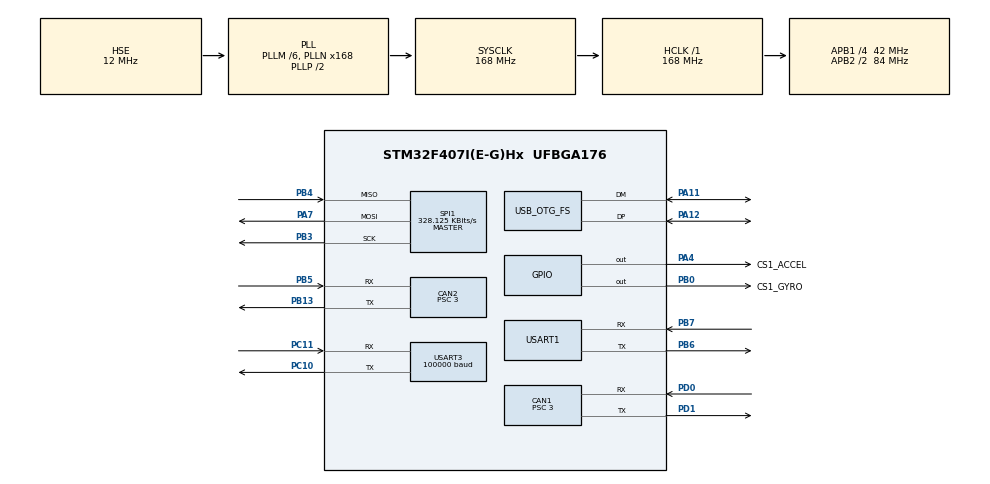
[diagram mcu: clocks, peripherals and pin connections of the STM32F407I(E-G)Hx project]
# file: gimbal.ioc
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CAN1.BS1=CAN_BS1_10TQ
CAN1.BS2=CAN_BS2_3TQ
CAN1.CalculateBaudRate=1000000
CAN1.CalculateTimeBit=1000
CAN1.CalculateTimeQuantum=71.42857142857143
CAN1.Prescaler=3
CAN2.BS1=CAN_BS1_10TQ
CAN2.BS2=CAN_BS2_3TQ
CAN2.CalculateBaudRate=1000000
CAN2.CalculateTimeBit=1000
CAN2.CalculateTimeQuantum=71.42857142857143
CAN2.Prescaler=3
Dma.Request0=USART3_RX
Dma.Request1=USART1_TX
Dma.USART1_TX.1.Direction=DMA_MEMORY_TO_PERIPH
Dma.USART1_TX.1.FIFOMode=DMA_FIFOMODE_DISABLE
Dma.USART1_TX.1.Instance=DMA2_Stream7
Dma.USART1_TX.1.MemDataAlignment=DMA_MDATAALIGN_BYTE
Dma.USART1_TX.1.MemInc=DMA_MINC_ENABLE
Dma.USART1_TX.1.Mode=DMA_CIRCULAR
Dma.USART1_TX.1.PeriphDataAlignment=DMA_PDATAALIGN_BYTE
Dma.USART1_TX.1.PeriphInc=DMA_PINC_DISABLE
Dma.USART1_TX.1.Priority=DMA_PRIORITY_LOW
Dma.USART3_RX.0.Direction=DMA_PERIPH_TO_MEMORY
Dma.USART3_RX.0.FIFOMode=DMA_FIFOMODE_DISABLE
Dma.USART3_RX.0.Instance=DMA1_Stream1
Dma.USART3_RX.0.MemDataAlignment=DMA_MDATAALIGN_BYTE
Dma.USART3_RX.0.MemInc=DMA_MINC_ENABLE
Dma.USART3_RX.0.Mode=DMA_CIRCULAR
Dma.USART3_RX.0.PeriphDataAlignment=DMA_PDATAALIGN_BYTE
Dma.USART3_RX.0.PeriphInc=DMA_PINC_DISABLE
Dma.USART3_RX.0.Priority=DMA_PRIORITY_LOW
FREERTOS.Tasks01=mit,0,256,MIT_task,As weak,NULL,Dynamic,NULL,NULL
Mcu.Family=STM32F4
Mcu.Name=STM32F407I(E-G)Hx
Mcu.Package=UFBGA176
NVIC.CAN1_RX0_IRQn=true\:5\:0\:false\:false\:true\:true\:true\:true\:true
NVIC.DMA1_Stream1_IRQn=true\:5\:0\:false\:false\:true\:true\:false\:true\:true
NVIC.DMA2_Stream7_IRQn=true\:5\:0\:false\:false\:true\:true\:false\:true\:true
NVIC.OTG_FS_IRQn=true\:5\:0\:false\:false\:true\:true\:false\:true\:true
NVIC.PriorityGroup=NVIC_PRIORITYGROUP_4
NVIC.TIM1_UP_TIM10_IRQn=true\:15\:0\:false\:false\:true\:false\:false\:true\:true
NVIC.TimeBase=TIM1_UP_TIM10_IRQn
NVIC.TimeBaseIP=TIM10
NVIC.USART1_IRQn=true\:6\:0\:true\:false\:true\:true\:true\:true\:true
NVIC.USART3_IRQn=true\:5\:0\:false\:false\:true\:true\:true\:true\:true
PA11.Mode=Device_Only
PA11.Signal=USB_OTG_FS_DM
PA12.Mode=Device_Only
PA12.Signal=USB_OTG_FS_DP
PA13.Mode=Serial_Wire
PA13.Signal=SYS_JTMS-SWDIO
PA14.Mode=Serial_Wire
PA14.Signal=SYS_JTCK-SWCLK
PA4.GPIO_Label=CS1_ACCEL
PA4.GPIO_PuPd=GPIO_PULLUP
PA4.GPIO_Speed=GPIO_SPEED_FREQ_HIGH
PA4.Signal=GPIO_Output
PA7.Mode=Full_Duplex_Master
PA7.Signal=SPI1_MOSI
PB0.GPIO_Label=CS1_GYRO
PB0.GPIO_PuPd=GPIO_PULLUP
PB0.GPIO_Speed=GPIO_SPEED_FREQ_HIGH
PB0.PinState=GPIO_PIN_SET
PB0.Signal=GPIO_Output
PB13.Mode=CAN_Activate
PB13.Signal=CAN2_TX
PB3.Mode=Full_Duplex_Master
PB3.Signal=SPI1_SCK
PB4.Mode=Full_Duplex_Master
PB4.Signal=SPI1_MISO
PB5.Mode=CAN_Activate
PB5.Signal=CAN2_RX
PB6.Mode=Asynchronous
PB6.Signal=USART1_TX
PB7.Mode=Asynchronous
PB7.Signal=USART1_RX
PC10.Mode=Asynchronous
PC10.Signal=USART3_TX
PC11.Mode=Asynchronous
PC11.Signal=USART3_RX
PC14-OSC32_IN.Mode=LSE-External-Oscillator
PC14-OSC32_IN.Signal=RCC_OSC32_IN
PC15-OSC32_OUT.Mode=LSE-External-Oscillator
PC15-OSC32_OUT.Signal=RCC_OSC32_OUT
PD0.Mode=CAN_Activate
PD0.Signal=CAN1_RX
PD1.Mode=CAN_Activate
PD1.Signal=CAN1_TX
PH0-OSC_IN.Mode=HSE-External-Oscillator
PH0-OSC_IN.Signal=RCC_OSC_IN
PH1-OSC_OUT.Mode=HSE-External-Oscillator
PH1-OSC_OUT.Signal=RCC_OSC_OUT
ProjectManager.HeapSize=0x2000
ProjectManager.StackSize=0x400
ProjectManager.TargetToolchain=MDK-ARM V5.32
RCC.48MHZClocksFreq_Value=48000000
RCC.AHBFreq_Value=168000000
RCC.APB1CLKDivider=RCC_HCLK_DIV4
RCC.APB1Freq_Value=42000000
RCC.APB1TimFreq_Value=84000000
RCC.APB2CLKDivider=RCC_HCLK_DIV2
RCC.APB2Freq_Value=84000000
RCC.APB2TimFreq_Value=168000000
RCC.CortexFreq_Value=168000000
RCC.HCLKFreq_Value=168000000
RCC.HSE_VALUE=12000000
RCC.HSI_VALUE=16000000
RCC.PLLM=6
RCC.PLLN=168
RCC.PLLQ=7
RCC.SYSCLKFreq_VALUE=168000000
RCC.SYSCLKSource=RCC_SYSCLKSOURCE_PLLCLK
RCC.VCOOutputFreq_Value=336000000
SPI1.BaudRatePrescaler=SPI_BAUDRATEPRESCALER_256
SPI1.CLKPhase=SPI_PHASE_2EDGE
SPI1.CLKPolarity=SPI_POLARITY_HIGH
SPI1.CalculateBaudRate=328.125 KBits/s
SPI1.Direction=SPI_DIRECTION_2LINES
SPI1.Mode=SPI_MODE_MASTER
SPI1.VirtualType=VM_MASTER
USART1.VirtualMode=VM_ASYNC
USART3.BaudRate=100000
USART3.Parity=PARITY_EVEN
USART3.VirtualMode=VM_ASYNC
USART3.WordLength=WORDLENGTH_9B
USB_DEVICE.CLASS_NAME_FS=CDC
USB_DEVICE.VirtualMode-CDC_FS=Cdc
USB_DEVICE.VirtualModeFS=Cdc_FS
USB_OTG_FS.VirtualMode=Device_Only
VP_FREERTOS_VS_CMSIS_V1.Mode=CMSIS_V1
VP_SYS_VS_tim10.Mode=TIM10
VP_USB_DEVICE_VS_USB_DEVICE_CDC_FS.Mode=CDC_FS
board=custom

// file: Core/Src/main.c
/* USER CODE BEGIN Header */
/**
  ******************************************************************************
  * @file           : main.c
  * @brief          : Main program body
  ******************************************************************************
  * @attention
  *
  * Copyright (c) 2025 STMicroelectronics.
  * All rights reserved.
  *
  * This software is licensed under terms that can be found in the LICENSE file
  * in the root directory of this software component.
  * If no LICENSE file comes with this software, it is provided AS-IS.
  *
  ******************************************************************************
  */
/* USER CODE END Header */
#include "main.h"
#include "cmsis_os.h"
#include "can.h"
#include "dma.h"
#include "spi.h"
#include "usart.h"
#include "usb_device.h"
#include "gpio.h"

/* USER CODE BEGIN Includes */
#include "dm4310.h"
#include "dr_can.h"
#include "dr16.h"
/* USER CODE END Includes */

/* USER CODE BEGIN PV */
rc_info_t rc_ctrl;
uint8_t rx_data[18];
/* USER CODE END PV */

void SystemClock_Config(void);
void MX_FREERTOS_Init(void);

/* USER CODE BEGIN 0 */
void Enable_CtrlMotor(CAN_HandleTypeDef* hcan,uint8_t id, uint8_t data0, uint8_t data1,uint8_t data2, uint8_t data3, uint8_t data4,uint8_t data5,uint8_t data6,uint8_t data7);
void Speed_CtrlMotor(CAN_HandleTypeDef* hcan, uint16_t ID, float _vel);
extern CAN_HandleTypeDef hcan1;
extern CAN_HandleTypeDef hcan2;
uint32_t FlashTimer;
double angle = 0.5;

/* USER CODE END 0 */

int main(void)
{

  /* MCU Configuration--------------------------------------------------------*/

  /* Reset of all peripherals, Initializes the Flash interface and the Systick. */
  HAL_Init();

  /* Configure the system clock */
  SystemClock_Config();

  /* Initialize all configured peripherals */
  MX_GPIO_Init();
  MX_DMA_Init();
  MX_CAN1_Init();
  MX_USART3_UART_Init();
  MX_USART1_UART_Init();
  MX_CAN2_Init();
  MX_SPI1_Init();
  /* USER CODE BEGIN 2 */
 CAN1_Filter_Init();
 CAN2_Filter_Init();
 Enable_CtrlMotor(&hcan1,MOTOR1,0xFF,0xFF,0xFF,0xFF,0xFF,0xFF,0xFF,0xFC);
 HAL_UART_Receive_DMA(&huart3, rx_data, 18);
  /* USER CODE END 2 */

  /* Call init function for freertos objects (in cmsis_os2.c) */
  MX_FREERTOS_Init();

  /* Start scheduler */
  osKernelStart();

  /* We should never get here as control is now taken by the scheduler */

  /* Infinite loop */
  while (1)
  {

  }
}

void SystemClock_Config(void)
{
  RCC_OscInitTypeDef RCC_OscInitStruct = {0};
  RCC_ClkInitTypeDef RCC_ClkInitStruct = {0};

  /** Configure the main internal regulator output voltage
  */
  __HAL_RCC_PWR_CLK_ENABLE();
  __HAL_PWR_VOLTAGESCALING_CONFIG(PWR_REGULATOR_VOLTAGE_SCALE1);

  /** Initializes the RCC Oscillators according to the specified parameters
  * in the RCC_OscInitTypeDef structure.
  */
  RCC_OscInitStruct.OscillatorType = RCC_OSCILLATORTYPE_HSE;
  RCC_OscInitStruct.HSEState = RCC_HSE_ON;
  RCC_OscInitStruct.PLL.PLLState = RCC_PLL_ON;
  RCC_OscInitStruct.PLL.PLLSource = RCC_PLLSOURCE_HSE;
  RCC_OscInitStruct.PLL.PLLM = 6;
  RCC_OscInitStruct.PLL.PLLN = 168;
  RCC_OscInitStruct.PLL.PLLP = RCC_PLLP_DIV2;
  RCC_OscInitStruct.PLL.PLLQ = 7;
  if (HAL_RCC_OscConfig(&RCC_OscInitStruct) != HAL_OK)
  {
    Error_Handler();
  }

  /** Initializes the CPU, AHB and APB buses clocks
  */
  RCC_ClkInitStruct.ClockType = RCC_CLOCKTYPE_HCLK|RCC_CLOCKTYPE_SYSCLK
                              |RCC_CLOCKTYPE_PCLK1|RCC_CLOCKTYPE_PCLK2;
  RCC_ClkInitStruct.SYSCLKSource = RCC_SYSCLKSOURCE_PLLCLK;
  RCC_ClkInitStruct.AHBCLKDivider = RCC_SYSCLK_DIV1;
  RCC_ClkInitStruct.APB1CLKDivider = RCC_HCLK_DIV4;
  RCC_ClkInitStruct.APB2CLKDivider = RCC_HCLK_DIV2;

  if (HAL_RCC_ClockConfig(&RCC_ClkInitStruct, FLASH_LATENCY_5) != HAL_OK)
  {
    Error_Handler();
  }
}

void HAL_TIM_PeriodElapsedCallback(TIM_HandleTypeDef *htim)
{
  if (htim->Instance == TIM10)
  {
    HAL_IncTick();
  }
}

void Error_Handler(void)
{
  __disable_irq();
  while (1)
  {
  }
}

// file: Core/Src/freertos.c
/* USER CODE BEGIN Header */
/**
  ******************************************************************************
  * File Name          : freertos.c
  * Description        : Code for freertos applications
  ******************************************************************************
  * @attention
  *
  * Copyright (c) 2025 STMicroelectronics.
  * All rights reserved.
  *
  * This software is licensed under terms that can be found in the LICENSE file
  * in the root directory of this software component.
  * If no LICENSE file comes with this software, it is provided AS-IS.
  *
  ******************************************************************************
  */
/* USER CODE END Header */

#include "FreeRTOS.h"
#include "task.h"
#include "main.h"
#include "cmsis_os.h"

/* USER CODE BEGIN Includes */
#include "dm4310.h"
/* USER CODE END Includes */

osThreadId mitHandle;

void MIT_task(void const * argument);

extern void MX_USB_DEVICE_Init(void);
void MX_FREERTOS_Init(void); /* (MISRA C 2004 rule 8.1) */

/* GetIdleTaskMemory prototype (linked to static allocation support) */
void vApplicationGetIdleTaskMemory( StaticTask_t **ppxIdleTaskTCBBuffer, StackType_t **ppxIdleTaskStackBuffer, uint32_t *pulIdleTaskStackSize );

/* USER CODE BEGIN GET_IDLE_TASK_MEMORY */
static StaticTask_t xIdleTaskTCBBuffer;
static StackType_t xIdleStack[configMINIMAL_STACK_SIZE];

void vApplicationGetIdleTaskMemory( StaticTask_t **ppxIdleTaskTCBBuffer, StackType_t **ppxIdleTaskStackBuffer, uint32_t *pulIdleTaskStackSize )
{
  *ppxIdleTaskTCBBuffer = &xIdleTaskTCBBuffer;
  *ppxIdleTaskStackBuffer = &xIdleStack[0];
  *pulIdleTaskStackSize = configMINIMAL_STACK_SIZE;
  /* place for user code */
}
/* USER CODE END GET_IDLE_TASK_MEMORY */

void MX_FREERTOS_Init(void) {

  /* Create the thread(s) */
  /* definition and creation of mit */
  osThreadDef(mit, MIT_task, osPriorityNormal, 0, 256);
  mitHandle = osThreadCreate(osThread(mit), NULL);

}

__weak void MIT_task(void const * argument)
{
  /* init code for USB_DEVICE */
  MX_USB_DEVICE_Init();
  /* USER CODE BEGIN MIT_task */
  /* Infinite loop */
  for(;;)
  {
//		MIT_CtrlMotor(&hcan1,MOTOR1,0,3,0,1,0);
    osDelay(1);
  }
  /* USER CODE END MIT_task */
}
